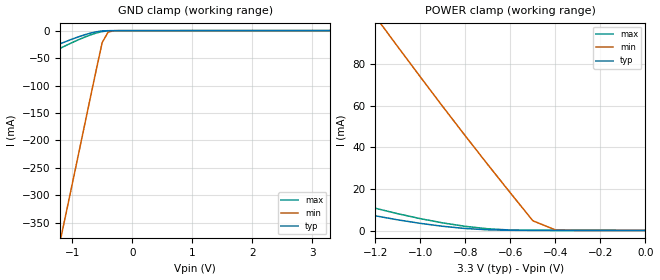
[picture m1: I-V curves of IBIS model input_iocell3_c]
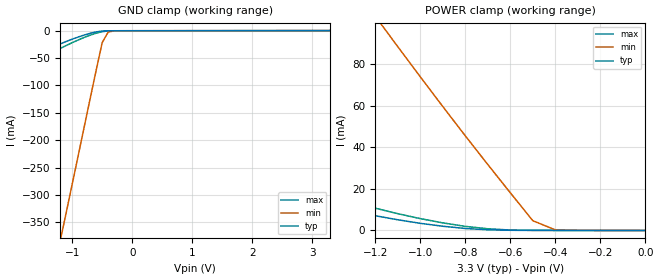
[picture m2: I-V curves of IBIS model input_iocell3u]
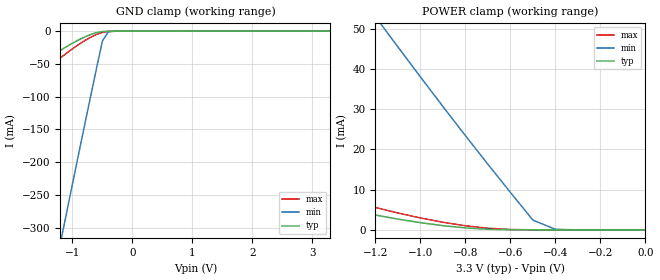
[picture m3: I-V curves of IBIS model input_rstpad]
[IBIS ver]   2.1
[File name]   k8721b33.ibs
[File Rev]   0.1
[Date]   3/16/2006
[Source]   Made By 0.25um TSMC HSPICE model.
[Notes]		 Pass Golden Parser ibischk4
[Disclaimer]   This information is for modeling purposes only and is not
   guaranteed. Used only for 3.3v device.
[Copyright]   Copyright 2006, Micrel - Kendin, All Rights Reserved.
|   Component k8721b
[Component]   k8721b
[Manufacturer]   TSMC
[Package]
| variable   typ   min   max
R_pkg   0.0823   0.0547   0.107
L_pkg   5.43nH   3.32nH   7.71nH
C_pkg   0.95pF   0.49pF   1.36pF
| Note: 48 pin.
[Pin]  signal_name   model_name   R_pin  L_pin  C_pin
  1   MDIO   iocell3_mdio
  2   MDC   input_iocell3u
  3   RXD3   iocell3_c
  4   RXD2   iocell3_c
  5   RXD1   iocell3_c
  6   RXD0   iocell3_c
  7   VDD2   POWER
  8   GND   GND
  9   RXDV   iocell3_c
 10   RXC   iocell3_c
 11   RXER   iocell3_c
 12   GND   GND
 13   VDD   POWER
 14   TXER   input_iocell3_c
 15   TXC   iocell3_thruc
 16   TXEN   input_iocell3_c
 17   TXD0   input_iocell3_c
 18   TXD1   input_iocell3_c
 19   TXD2   input_iocell3_c
 20   TXD3   input_iocell3_c
 21   COL   iocell3_c
 22   CRS   iocell3_c
 23   GND   GND
 24   VDD2   POWER
 25   INT   iocell3u
 26   LED0   iocell3u
 27   LED1   tri_iocell3mu
 28   LED2   tri_iocell3mu
 29   LED3   iocell3u
 30   PD_N   input_rstpad
 31   VDD   POWER
 32   RXM   input_rxtxpadm
 33   RXP   input_rxtxpad
 34   SD_FXEN   input_sdpad
 35   GND   GND
 36   GND   GND
 37   REXT   input_rextpad
 38   VDD   POWER
 39   GND   GND
 40   TXM   input_rxtxpadm
 41   TXP   input_rxtxpad
 42   VDD   POWER
 43   GND   GND
 44   GND   GND
 45   XO   output_osc
 46   XI   input_osc
 47   VDD   POWER
 48   RST_N   input_rstpad
| Models and submodels in the file (14): input_iocell3_c (Input), input_iocell3u (Input), input_rstpad (Input), input_rxtxpadm (Input), input_rxtxpad (Input), input_sdpad (Input), input_rextpad (Input), input_osc (Input), output_osc (Output), iocell3_mdio (I/O), iocell3_c (I/O), iocell3u (I/O), iocell3_thruc (I/O), tri_iocell3mu (I/O)
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|   Model input_iocell3_c
[Model]   input_iocell3_c
Model_type   Input
Polarity   Non-Inverting
Vinl =   0.8V
Vinh =   2.0V
C_comp   6.05e-12F   7.28e-12F   6.04e-12F
[Temperature Range]   25   125   0
[Voltage Range]   3.30V   3.00V   3.60V
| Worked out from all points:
|   GND clamp passes 1 mA (typ) near -0.53 V on its own axis
|   POWER clamp passes 1 mA (typ) near -0.79 V on its own axis
[POWER_clamp]
| voltage   I(typ)   I(min)   I(max)
-3.3V     67.98mA    428.2mA    82.19mA
-2.7V     49.56mA    333.3mA    62.09mA
-1.9V     25.1mA     208.6mA    33.58mA
-1.5V     14.09mA    147.7mA    19.87mA
-1.2V     7.165mA    103mA      10.81mA
-1.1V     5.232mA    88.41mA    8.175mA
-900mV    2.129mA    59.64mA    3.759mA
-800mV    1.061mA    45.57mA    2.1mA
-700mV    436.1uA    31.77mA    930.3uA
-500mV    157.2uA    4.787mA    178.5uA
-400mV    148.2uA    401.6uA    160.7uA
0V        132uA      120uA      144uA
[GND_clamp]
| voltage   I(typ)   I(min)   I(max)
-3.3V     -124.4mA   -1.386A    -145.9mA
-2.5V     -87.3mA    -1.028A    -105.1mA
-1.2V     -24.01mA   -384mA     -32.24mA
-1.1V     -19.6mA    -332.2mA   -26.89mA
-700mV    -4.635mA   -123.6mA   -7.989mA
-500mV    -521.1uA   -21.65mA   -1.642mA
-400mV    -66.19uA   -2.432mA   -282.7uA
-200mV    -8.122uA   -17.62uA   -8.543uA
3.3V      132uA      146.6uA    132uA
|   Model input_iocell3u
[Model]   input_iocell3u
Model_type   Input
Polarity   Non-Inverting
Vinl =   0.8V
Vinh =   2.0V
C_comp   6.05e-12F   7.28e-12F   6.04e-12F
[Temperature Range]   25   125   0
[Voltage Range]   3.30V   3.00V   3.60V
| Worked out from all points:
|   GND clamp passes 1 mA (typ) near -0.51 V on its own axis
|   POWER clamp passes 1 mA (typ) near -0.80 V on its own axis
[POWER_clamp]
| voltage   I(typ)   I(min)   I(max)
-3.3V     67.98mA    428.3mA    82.18mA
-2.7V     49.54mA    333.2mA    62.05mA
-1.9V     25.04mA    208.5mA    33.51mA
-1.5V     14.02mA    147.6mA    19.79mA
-1.2V     7.081mA    103mA      10.71mA
-1.1V     5.144mA    88.34mA    8.075mA
-900mV    2.033mA    59.56mA    3.651mA
-800mV    960.8uA    45.48mA    1.98mA
-700mV    332.1uA    31.67mA    814.3uA
-500mV    45.22uA    4.687mA    54.51uA
-400mV    32.21uA    297.7uA    32.72uA
0V        358.1pA    32.75nA    736.7pA
[GND_clamp]
| voltage   I(typ)   I(min)   I(max)
-3.3V     -124.8mA   -1.386A    -146.4mA
-2.5V     -87.66mA   -1.028A    -105.4mA
-1.2V     -24.32mA   -384.3mA   -32.57mA
-1.1V     -19.91mA   -332.5mA   -27.22mA
-700mV    -4.926mA   -123.9mA   -8.304mA
-500mV    -805uA     -21.9mA    -1.95mA
-400mV    -346.2uA   -2.687mA   -586.6uA
-200mV    -280.1uA   -265.6uA   -304.5uA
3.3V      358pA      38.6uA     -24uA
|   Model input_rstpad
[Model]   input_rstpad
Model_type   Input
Polarity   Non-Inverting
Vinl =   0.8V
Vinh =   2.0V
C_comp   1.84e-12F   2.04e-12F   1.62e-12F
[Temperature Range]   25   125   0
[Voltage Range]   3.30V   3.00V   3.60V
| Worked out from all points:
|   GND clamp passes 1 mA (typ) near -0.52 V on its own axis
|   POWER clamp passes 1 mA (typ) near -0.89 V on its own axis
[POWER_clamp]
| voltage   I(typ)   I(min)   I(max)
-3.3V     35.41mA    220mA      42.76mA
-2.7V     25.8mA     171.2mA    32.27mA
-1.9V     13.05mA    107.2mA    17.43mA
-1.5V     7.32mA     75.91mA    10.3mA
-1.2V     3.706mA    52.97mA    5.588mA
-1.1V     2.697mA    45.45mA    4.218mA
-900mV    1.071mA    30.66mA    1.914mA
-800mV    510.5uA    23.41mA    1.042mA
-700mV    180.1uA    16.31mA    432uA
-500mV    27.78uA    2.436mA    32.62uA
-400mV    20.11uA    162.7uA    20.38uA
0V        337.3pA    14.52nA    876.9pA
[GND_clamp]
| voltage   I(typ)   I(min)   I(max)
-3.3V     -148.9mA   -1.276A    -176.9mA
-2.9V     -129.3mA   -1.096A    -155.6mA
-2.4V     -101.9mA   -869mA     -125.2mA
-2V       -78mA      -686.8mA   -98.21mA
-1.2V     -29.42mA   -323.4mA   -40.75mA
-1.1V     -23.83mA   -278.3mA   -33.79mA
-800mV    -9.124mA   -144.7mA   -14.84mA
-600mV    -2.38mA    -57.45mA   -5.173mA
-500mV    -695.2uA   -14.94mA   -1.969mA
-400mV    -235.1uA   -1.075mA   -473uA
3.3V      337.3pA    22.9uA     -15uA
